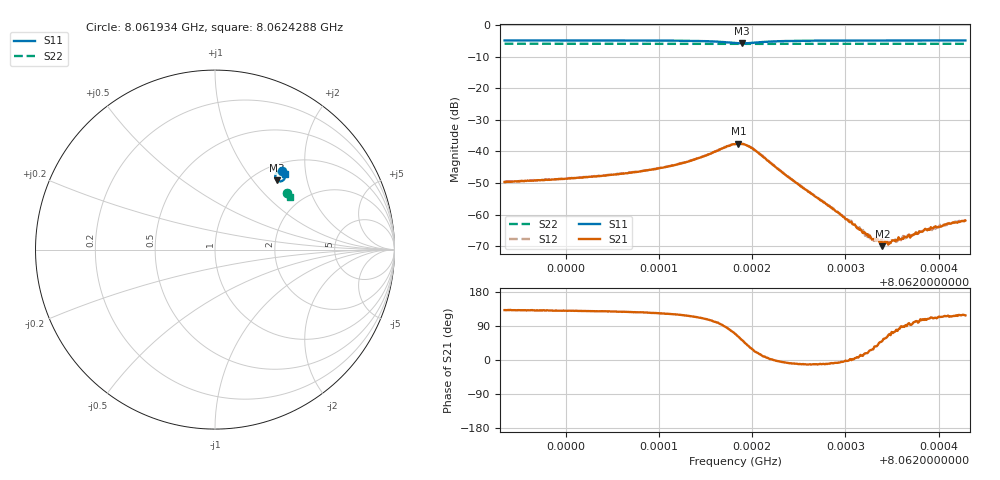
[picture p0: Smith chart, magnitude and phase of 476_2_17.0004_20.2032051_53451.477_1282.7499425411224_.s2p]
#  HZ  S  RI  R  50.00
! Rohde & Schwarz Vector Network Analyzer
! Rohde-Schwarz,ZNB20-2Port,1311601062101988,3.16
! Created: UTC 3/20/2024, 11:13:23 PM
! freq[Hz]  re:S11  im:S11  re:S21  im:S21  re:S12  im:S12  re:S22  im:S22
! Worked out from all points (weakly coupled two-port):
!   401 points, 8.061934 GHz to 8.0624288 GHz, reference 50 ohm
!   highest |S21| = -37.48 dB at 8.0621851 GHz (marker M1); lowest = -70.0 dB at 8.0623398 GHz (marker M2)
!   lowest |S11| = -5.7 dB at 8.0621888 GHz (marker M3), VSWR 3.15, Z = 63.3 + j66.9 ohm
!   |S11| at or under -10 dB: nowhere
!   |S22| runs from -5.9 to -5.8 dB; largest |S21 - S12| = 0.00096
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8.061934e9  0.3727 0.4391  -0.00218 0.00245  -0.00206 0.00265  0.4016 0.3151
8.06201688e9  0.379 0.4332  -0.00246 0.00297  -0.00228 0.00315  0.4046 0.311
8.06206389e9  0.3831 0.4284  -0.00272 0.00361  -0.00255 0.00379  0.4063 0.3084
8.06209977e9  0.3869 0.4229  -0.00299 0.00453  -0.00274 0.00471  0.4076 0.3066
8.06213688e9  0.3905 0.4114  -0.00308 0.0067  -0.00267 0.00693  0.4089 0.3042
8.06218142e9  0.3613 0.3803  0.00454 0.0122  0.00536 0.012  0.4086 0.3011
8.06218513e9  0.3534 0.382  0.00637 0.0118  0.00721 0.0114  0.4085 0.3011
8.06218884e9  0.3457 0.3862  0.00791 0.0105  0.00863 0.0101  0.4083 0.3013
8.06220245e9  0.3358 0.4123  0.00975 0.00409  0.01 0.00375  0.4086 0.3019
8.06223585e9  0.3593 0.4352  0.0042 -0.000496  0.00423 -0.000764  0.4112 0.3009
8.06226431e9  0.3705 0.4348  0.00207 -0.000423  0.00203 -0.000565  0.4125 0.2994
8.06230761e9  0.3791 0.4316  0.000703 3.02e-05  0.000724 -3.73e-05  0.4143 0.297
8.06232864e9  0.3818 0.43  0.000355 0.000184  0.000346 0.000177  0.4151 0.2959
8.0623373e9  0.383 0.4292  0.000237 0.000257  0.000278 0.000259  0.4154 0.2955
8.06233977e9  0.3831 0.4291  0.0002 0.000244  0.000274 0.000301  0.4157 0.2954
8.06234348e9  0.3836 0.4288  0.000191 0.000307  0.000187 0.000273  0.4157 0.2952
8.06234719e9  0.3839 0.4286  0.000128 0.000329  0.000163 0.000336  0.4158 0.2949
8.06235214e9  0.3844 0.4282  0.000111 0.000375  0.000125 0.000337  0.4161 0.2947
8.06236823e9  0.386 0.4272  -6.13e-05 0.000477  -1.75e-05 0.000478  0.4166 0.2938
8.06239421e9  0.3881 0.4254  -0.000203 0.000567  -0.000183 0.000603  0.4175 0.2923
8.06242019e9  0.3902 0.4238  -0.00033 0.000668  -0.000318 0.000685  0.4184 0.2911
8.06242884e9  0.391 0.4233  -0.000376 0.000711  -0.000341 0.000712  0.4188 0.2906
